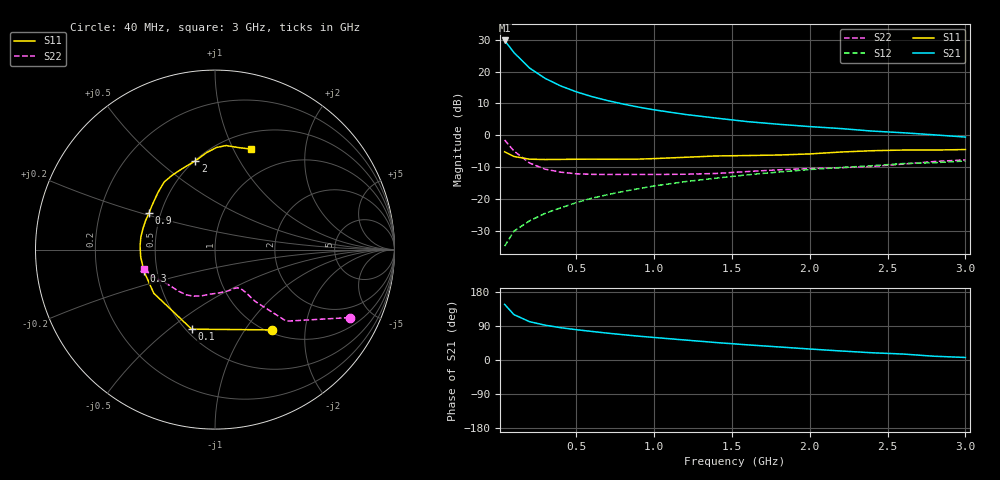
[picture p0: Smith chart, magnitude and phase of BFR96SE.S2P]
! Filename:  BFR96SE.S2P  Version:  2.0
! Philips part #: BFR96S  Date: Jul 1990
! Bias condition: Vce=10V, Ic=15mA
#  MHz  S  MA  R  50
! Freq  S11  S21  S12  S22  !GUM [dB]
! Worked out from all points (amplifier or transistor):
!   21 points, 40 MHz to 3 GHz, reference 50 ohm
!   highest |S21| = 29.8 dB at 40 MHz (marker M1)
!   |S21| within 3 dB of that: start of sweep to 87.28 MHz
!   unconditionally stable (mu >= 1): 383.7 MHz to end of sweep
!   at 300 MHz: K = 0.93, MSG = 21.2 dB, |S12| = -24.6 dB
!   at 1 GHz: K = 1.11, MAG = 10.0 dB, |S12| = -16.0 dB
!   at 3 GHz: K = 1.12, MAG = 1.7 dB, |S12| = -8.1 dB
!   S11 on the Smith chart (normalised r, x): 40 MHz: 1.05, -1.34; 100 MHz: 0.53, -0.60; 300 MHz: 0.42, -0.12; 900 MHz: 0.43, +0.21; 2 GHz: 0.50, +0.67; 3 GHz: 0.68, +1.17
40  0.548 -54.7  30.76 146.9  0.018 69.5  0.84 -26.8
100  0.462 -106.3  19.85 119.7  0.031 58.2  0.563 -45.1
200  0.419 -144.5  11.34 101.2  0.045 59.2  0.365 -52.2
300  0.414 -163.2  7.807 91.9  0.059 62.1  0.292 -54.4
400  0.416 -174.5  5.94 85.3  0.072 64.5  0.262 -56.5
500  0.418 177.1  4.8 80.0  0.087 65.7  0.247 -59.6
600  0.419 170.2  4.039 75.4  0.102 65.8  0.242 -62.8
700  0.418 163.7  3.497 70.9  0.116 65.8  0.241 -66.2
800  0.419 157.6  3.088 66.8  0.13 65.5  0.241 -69.7
900  0.42 151.2  2.76 62.9  0.144 64.9  0.241 -73.0
1000  0.428 145.3  2.5 59.5  0.159 64.2  0.241 -77.0
1200  0.449 135.2  2.116 52.7  0.186 62.4  0.243 -86.2
1400  0.471 127.0  1.851 46.0  0.211 60.5  0.25 -96.7
1600  0.478 120.0  1.631 40.0  0.238 59.1  0.268 -106.1
1800  0.487 111.7  1.483 34.5  0.263 56.0  0.285 -114.4
2000  0.507 102.4  1.363 29.0  0.288 54.0  0.298 -122.0
2200  0.543 94.8  1.269 23.8  0.31 51.5  0.308 -131.2
2400  0.569 89.1  1.159 19.1  0.331 50.5  0.322 -141.7
2600  0.583 83.9  1.09 15.7  0.358 47.2  0.351 -151.0
2800  0.583 77.6  1.011 9.9  0.369 44.4  0.385 -158.4
3000  0.594 70.4  0.933 6.7  0.392 43.4  0.409 -164.8
